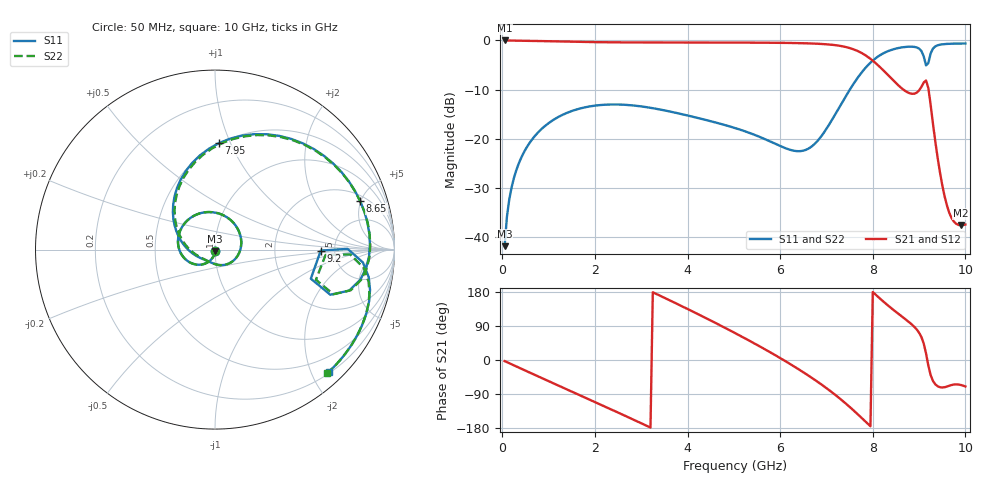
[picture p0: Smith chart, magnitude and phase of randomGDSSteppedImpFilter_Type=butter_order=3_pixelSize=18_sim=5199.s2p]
! freq	dB(S11)	phase(S11)	dB(S12)	phase(S12)
!  dB(S21)	phase(S21)	dB(S22)	phase(S22)
!S-par simulation data
#  GHz  S  DB  R 50
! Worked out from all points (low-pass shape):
!   200 points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, 50 MHz to 10 GHz, reference 50 ohm
!   highest |S21| = 0.00 dB at 50 MHz (marker M1); lowest = -37.6 dB at 9.9 GHz (marker M2)
!   |S21| within 3 dB of the highest: start of sweep to 7.84 GHz
!   lowest |S11| = -41.8 dB at 50 MHz (marker M3), VSWR 1.02, Z = 50 - j0.812 ohm
!   |S11| at or under -10 dB: start of sweep to 7.504 GHz
!   |S22| runs from -41.8 to -0.6 dB; largest |S21 - S12| = 0
!   S11 on the Smith chart (normalised r, x): 50 MHz: 1.00, -0.02; 7.95 GHz: 0.49, +0.91; 8.65 GHz: 2.48, +4.93; 9.2 GHz: 3.87, -0.07; 10 GHz: 0.23, -2.28
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0.05  -41.80 -92.1  -0.00 -2.8  -0.00 -2.8  -41.80 -92.1
0.2  -29.88 -100.8  -0.03 -11.3  -0.03 -11.3  -29.88 -100.8
0.5  -22.16 -118.3  -0.07 -28.0  -0.07 -28.0  -22.16 -118.3
1.15  -15.87 -155.0  -0.19 -64.1  -0.19 -64.1  -15.87 -155.0
1.75  -13.66 172.0  -0.31 -97.2  -0.31 -97.2  -13.66 172.0
2.65  -13.08 122.1  -0.40 -147.1  -0.40 -147.1  -13.08 122.1
3.4  -14.02 79.4  -0.42 170.1  -0.42 170.1  -14.02 79.4
4.3  -15.93 26.5  -0.42 116.5  -0.42 116.5  -15.93 26.5
5.05  -17.87 -19.3  -0.43 69.6  -0.43 69.6  -17.87 -19.3
5.95  -21.24 -78.2  -0.48 8.8  -0.48 8.8  -21.26 -79.4
6.7  -21.40 -140.9  -0.63 -48.4  -0.63 -48.4  -21.40 -145.0
7.3  -13.21 159.4  -1.11 -102.8  -1.11 -102.8  -13.17 156.1
7.65  -7.90 121.8  -2.05 -140.3  -2.05 -140.3  -7.88 119.4
7.95  -4.52 87.8  -3.73 -174.8  -3.73 -174.8  -4.50 86.0
8.35  -2.10 45.5  -7.24 141.7  -7.24 141.7  -2.09 44.3
8.65  -1.38 18.5  -9.91 112.8  -9.91 112.8  -1.37 17.7
9.05  -2.14 -17.0  -9.45 60.7  -9.45 60.7  -2.06 -16.7
9.2  -4.59 -0.5  -9.67 -14.8  -9.67 -14.8  -4.20 -2.7
9.3  -1.65 -5.0  -16.93 -55.1  -16.93 -55.1  -1.57 -7.0
9.55  -0.74 -25.0  -31.63 -71.8  -31.63 -71.8  -0.73 -26.2
9.9  -0.63 -42.6  -37.56 -65.9  -37.56 -65.9  -0.63 -43.6
10  -0.63 -46.9  -37.40 -69.9  -37.40 -69.9  -0.62 -47.8
